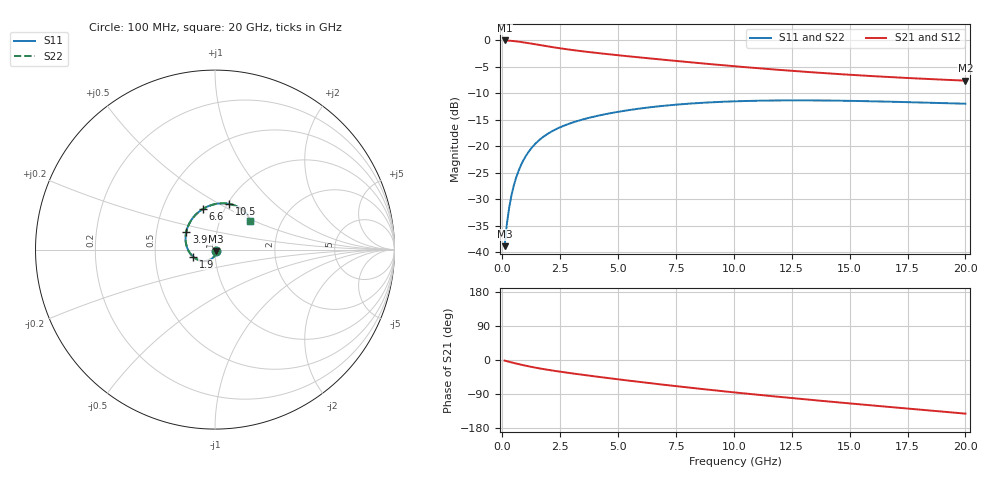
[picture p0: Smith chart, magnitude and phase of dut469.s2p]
! Touchstone file exported from HFSS 2024.1.0
!  File:  C:/UserFiles/LocalFiles/RDL_TSV_Batchsim/temp_RDL_TSV_469_1779729482.aedt
!  Generated:  01:32:07 AM May 26, 2026
!  Design:  RDL_TSV
!  Project:  temp_RDL_TSV_469_1779729482
!  Setup:  Setup1
!  Solution:  Sweep
! Variables:
!  dtsv = 14.61um
!  hbump = 3um
!  htsv = 96.68um
!  ldown = 292.01um
!  lrdl = 141.32um
!  p = 40
!  p1 = 52.52um
!  rhole = 10um
!  subl = 1441.31um
!  t = 450um
!  tdown = 4.02um
!  trdl = 4.58um
!  viad = 10um
!  wdown = 14.94um
!  wrdl = 22.96um
!  xbump = 18um
# GHz S MA R 50.000000
! Terminal data exported
! Port[1] = TM1_1_T1
! Port[2] = TM1_4_T1
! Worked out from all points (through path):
!   200 points, 100 MHz to 20 GHz, reference 50 ohm
!   highest |S21| = -0.07 dB at 100 MHz (marker M1); lowest = -7.6 dB at 20 GHz (marker M2)
!   group delay of S21, straight-line fit = 18.3 ps
!   lowest |S11| = -38.8 dB at 100 MHz (marker M3), VSWR 1.02, Z = 50.7 - j0.908 ohm
!   |S11| at or under -10 dB: start of sweep to end of sweep
!   |S22| runs from -38.8 to -11.4 dB; largest |S21 - S12| = 1.6e-14
!   S11 on the Smith chart (normalised r, x): 100 MHz: 1.01, -0.02; 1.9 GHz: 0.78, -0.06; 3.9 GHz: 0.71, +0.15; 6.6 GHz: 0.79, +0.38; 10.5 GHz: 1.02, +0.56; 20 GHz: 1.38, +0.48
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0.1  0.01145 -51.4  0.9916 -1.6  0.9916 -1.6  0.01145 -51.4
! Gamma 0 0 0 0
! Port Impedance 50 0 50 0
0.2  0.01865 -73.5  0.9896 -3.2  0.9896 -3.2  0.01865 -73.5
0.3  0.02664 -85.6  0.9866 -4.8  0.9866 -4.8  0.02664 -85.6
0.4  0.03479 -94.1  0.9827 -6.4  0.9827 -6.4  0.03479 -94.1
0.5  0.04287 -101.1  0.978 -7.9  0.978 -7.9  0.04287 -101.1
0.7  0.05846 -112.9  0.9664 -10.8  0.9664 -10.8  0.05846 -112.9
0.9  0.073 -122.9  0.9528 -13.6  0.9528 -13.6  0.07299 -122.9
1.2  0.09255 -136.3  0.9301 -17.5  0.9301 -17.5  0.09255 -136.3
1.5  0.1094 -148.1  0.9065 -21.0  0.9065 -21.0  0.1094 -148.1
1.9  0.1284 -162.1  0.8762 -25.2  0.8762 -25.2  0.1284 -162.1
2.6  0.1542 177.3  0.8299 -31.7  0.8299 -31.7  0.1542 177.3
3.5  0.1794 155.9  0.7821 -39.3  0.7821 -39.3  0.1793 155.9
3.9  0.1888 147.8  0.7639 -42.5  0.7639 -42.5  0.1887 147.8
5.2  0.2145 125.6  0.7123 -52.5  0.7123 -52.5  0.2144 125.6
6.6  0.2358 107.0  0.6641 -62.7  0.6641 -62.7  0.2357 107.0
6.8  0.2383 104.7  0.6577 -64.1  0.6577 -64.1  0.2382 104.7
8.3  0.2539 89.5  0.6125 -74.4  0.6125 -74.4  0.2538 89.5
10.1  0.2652 75.2  0.5652 -86.0  0.5652 -86.0  0.265 75.3
10.5  0.2667 72.5  0.5557 -88.5  0.5557 -88.5  0.2666 72.6
13.4  0.2702 56.9  0.4969 -105.6  0.4969 -105.6  0.27 56.9
16.7  0.2629 45.7  0.4486 -123.8  0.4486 -123.8  0.2627 45.7
20  0.2515 39.8  0.4149 -141.5  0.4149 -141.5  0.2514 39.8
